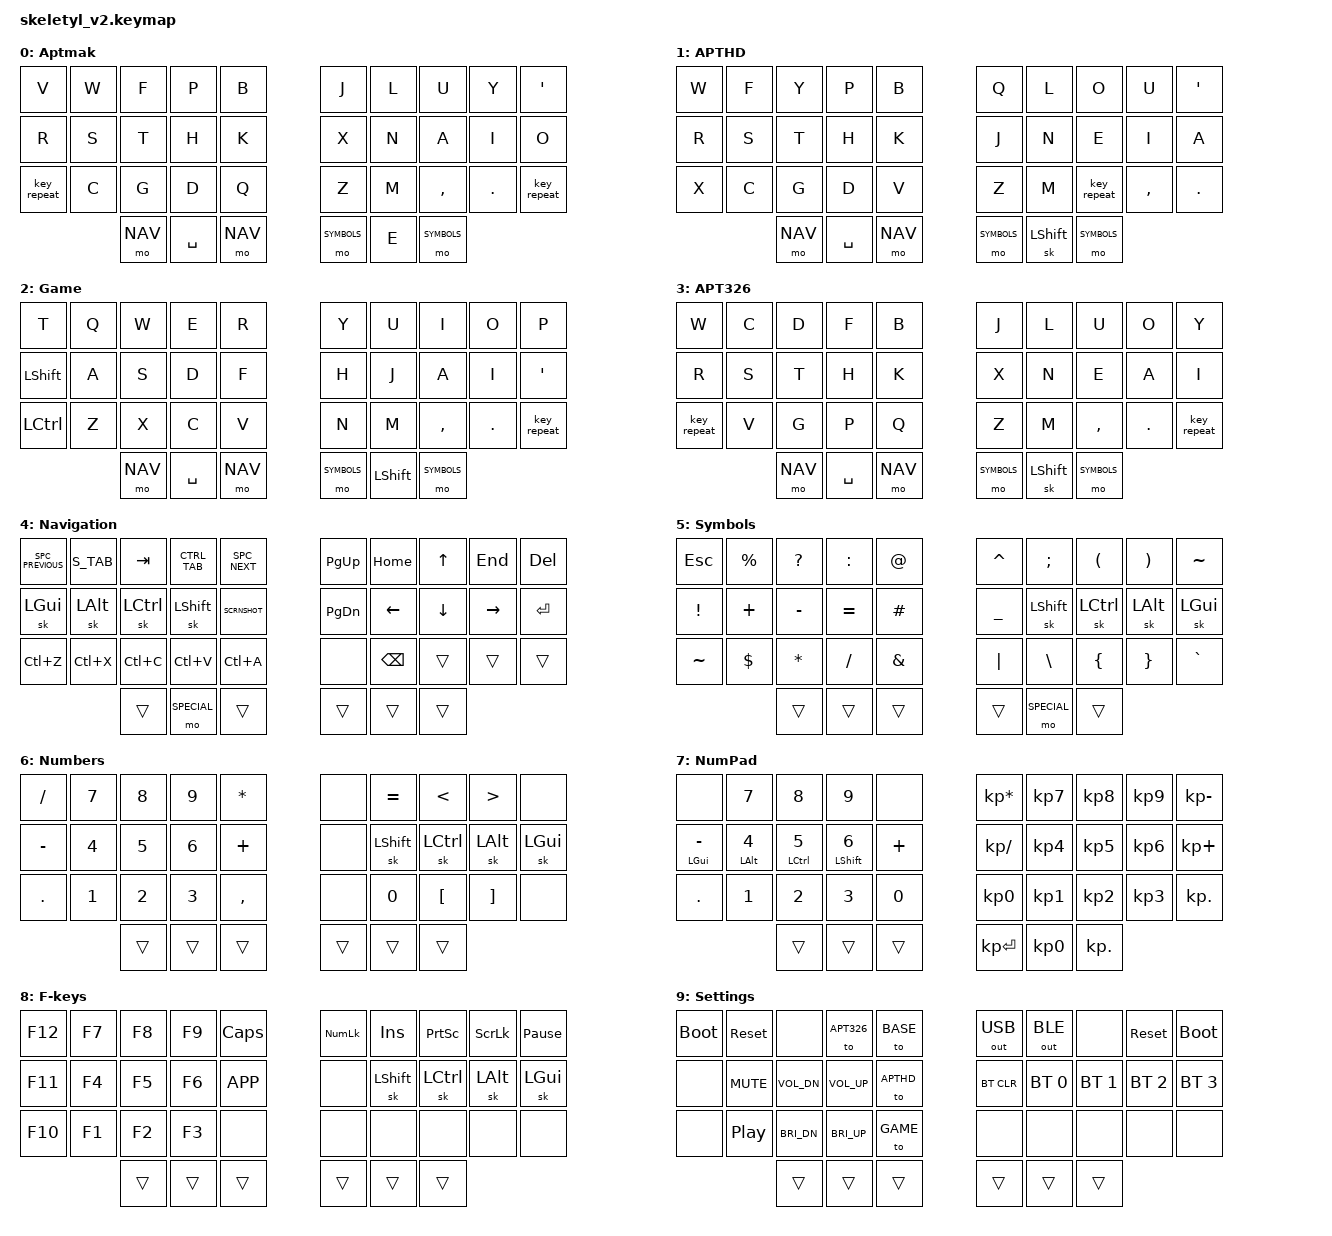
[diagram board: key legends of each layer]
/*
 * Copyright (c) 2020 The ZMK Contributors
 *
 * SPDX-License-Identifier: MIT
 */

#include <behaviors.dtsi>
#include <dt-bindings/zmk/keys.h>
#include <dt-bindings/zmk/bt.h>
#include <dt-bindings/zmk/ext_power.h>
#include <dt-bindings/zmk/outputs.h>

#define BASE    0
#define APTHD   1
#define GAME    2
#define APT326  3
#define NAV     4
#define SYMBOLS 5
#define NUMBERS 6
#define NUMPAD  7
#define FKEYS   8
#define SPECIAL 9

#define LAUNCHER (LG(TAB))
#define CTRL_TAB (LC(TAB))
#define C_S_TAB (LC(LS(TAB)))
#define SCRNSHOT (LG(LS(S)))

#define SPC_PREVIOUS (LC(LG(LEFT)))
#define S_PRV SPC_PREVIOUS

#define SPC_NEXT (LC(LG(RIGHT)))
#define S_NXT SPC_NEXT

&caps_word {
    continue-list = <UNDERSCORE MINUS BACKSPACE>;
};

&sk {
  quick-release;
};

/ {
    #include "36key_combos.dtsi"

    chosen {
      zmk,battery = &vbatt;
    };

    vbatt: vbatt {
      compatible = "zmk,battery-nrf-vddh";
      label = "VBATT";
    };

    conditional_layers {
      compatible = "zmk,conditional-layers";
      tri_layer {
          if-layers = <NAV SYMBOLS>;
          then-layer = <NUMBERS>;
      };
    };

    behaviors {
      td0: tap_dance_smart_shift {
          compatible = "zmk,behavior-tap-dance";
          label = "TAP_DANCE_SMART_SHIFT";
          #binding-cells = <0>;
          tapping-term-ms = <200>;
          bindings = <&sk LSHIFT>, <&caps_word>;
      };
    }; 

    keymap {
      compatible = "zmk,keymap";

      default_layer {
      label = "Aptmak";
      bindings = <
      &kp        V &kp        W &kp        F &kp        P &kp        B                   &kp        J &kp        L &kp        U &kp        Y &kp     APOS
      &kp        R &kp        S &kp        T &kp        H &kp        K                   &kp        X &kp        N &kp        A &kp        I &kp        O
      &key_repeat  &kp        C &kp        G &kp        D &kp        Q                   &kp        Z &kp        M &kp    COMMA &kp   PERIOD &key_repeat
                                             &mo      NAV &kp    SPACE &mo NAV &mo SYMBOLS &kp      E &mo  SYMBOLS
        >;
      };

      akl_layer {
      label = "APTHD";
      bindings = <
      &kp        W &kp        F &kp        Y &kp        P &kp        B                   &kp        Q &kp        L &kp        O &kp        U &kp     APOS
      &kp        R &kp        S &kp        T &kp        H &kp        K                   &kp        J &kp        N &kp        E &kp        I &kp        A
      &kp        X &kp        C &kp        G &kp        D &kp        V                   &kp        Z &kp        M &key_repeat  &kp    COMMA &kp   PERIOD
                                             &mo      NAV &kp    SPACE &mo NAV &mo SYMBOLS &sk  LSHFT &mo  SYMBOLS
        >;
      };

      game_layer {
      label = "Game";
      bindings = <
      &kp        T &kp        Q &kp        W &kp        E &kp        R                   &kp        Y &kp        U &kp        I &kp        O &kp        P
      &kp    LSHFT &kp        A &kp        S &kp        D &kp        F                   &kp        H &kp        J &kp        A &kp        I &kp     APOS
      &kp    LCTRL &kp        Z &kp        X &kp        C &kp        V                   &kp        N &kp        M &kp    COMMA &kp   PERIOD &key_repeat
                                             &mo      NAV &kp    SPACE &mo NAV &mo SYMBOLS &kp  LSHFT &mo  SYMBOLS
        >;
      };

      apt_layer {
      label = "APT326";
      bindings = <
      &kp        W &kp        C &kp        D &kp        F &kp        B                   &kp        J &kp        L &kp        U &kp        O &kp        Y
      &kp        R &kp        S &kp        T &kp        H &kp        K                   &kp        X &kp        N &kp        E &kp        A &kp        I
      &key_repeat  &kp        V &kp        G &kp        P &kp        Q                   &kp        Z &kp        M &kp    COMMA &kp   PERIOD &key_repeat
                                             &mo      NAV &kp    SPACE &mo NAV &mo SYMBOLS &sk  LSHFT &mo  SYMBOLS
        >;
      };

      nav_layer {
      label = "Navigation";
      bindings = <
      &kp    S_PRV &kp  C_S_TAB &kp      TAB &kp CTRL_TAB &kp    S_NXT                   &kp    PG_UP &kp     HOME &kp       UP &kp      END &kp      DEL
      &sk     LGUI &sk     LALT &sk    LCTRL &sk    LSHFT &kp SCRNSHOT                   &kp    PG_DN &kp     LEFT &kp     DOWN &kp    RIGHT &kp    ENTER
      &kp    LC(Z) &kp    LC(X) &kp    LC(C) &kp    LC(V) &kp    LC(A)                   &none        &kp     BSPC &trans       &trans       &trans
                                             &trans       &mo  SPECIAL &trans    &trans  &trans       &trans
        >;
      };

      symbols_layer {
      label = "Symbols";
      bindings = <
      &kp   ESCAPE &kp  PERCENT &kp    QMARK &kp    COLON &kp       AT                   &kp    CARET &kp     SEMI &kp     LPAR &kp     RPAR &kp    TILDE
      &kp     EXCL &kp     PLUS &kp    MINUS &kp    EQUAL &kp     HASH                   &kp    UNDER &sk   LSHIFT &sk    LCTRL &sk     LALT &sk     LGUI
      &kp    TILDE &kp   DOLLAR &kp ASTERISK &kp    SLASH &kp     AMPS                   &kp     PIPE &kp     BSLH &kp     LBRC &kp     RBRC &kp    GRAVE
                                             &trans       &trans       &trans    &trans  &mo  SPECIAL &trans
        >;
      };

      numbers_layer {
      label = "Numbers";
      bindings = <
      &kp    SLASH &kp       N7 &kp       N8 &kp       N9 &kp ASTERISK                   &none        &kp    EQUAL &kp       LT &kp GT       &none
      &kp    MINUS &kp       N4 &kp       N5 &kp       N6 &kp     PLUS                   &none        &sk   LSHIFT &sk    LCTRL &sk    LALT  &sk     LGUI
      &kp      DOT &kp       N1 &kp       N2 &kp       N3 &kp    COMMA                   &none        &kp       N0 &kp     LBKT &kp     RBKT &none
                                             &trans       &trans       &trans    &trans  &trans       &trans
        >;
      };

      numpad_layer {
      label = "NumPad";
      bindings = <
      &none        &kp       N7 &kp       N8 &kp       N9 &none                          &kp KP_ASTERISK &kp    KP_N7 &kp    KP_N8 &kp    KP_N9 &kp KP_MINUS
      &mt LGUI MINUS &mt  LALT N4 &mt  LCTL N5 &mt LSHFT N6 &kp   PLUS                   &kp    KP_SLASH &kp    KP_N4 &kp    KP_N5 &kp    KP_N6 &kp  KP_PLUS
      &kp      DOT &kp       N1 &kp       N2 &kp       N3 &kp       N0                   &kp       KP_N0 &kp    KP_N1 &kp    KP_N2 &kp    KP_N3 &kp   KP_DOT
                                             &trans       &trans       &trans    &kp KP_ENTER  &kp KP_N0 &kp   KP_DOT
        >;
      };

      fun_layer {
      label = "F-keys";
      bindings = <
      &kp      F12 &kp       F7 &kp       F8 &kp       F9 &kp     CAPS                   &kp KP_NUM   &kp      INS &kp    PSCRN &kp     SLCK &kp PAUSE_BREAK
      &kp      F11 &kp       F4 &kp       F5 &kp       F6 &kp    K_APP                   &none        &sk    LSHFT &sk     LCTL &sk     LALT &sk     LGUI
      &kp      F10 &kp       F1 &kp       F2 &kp       F3 &none                          &none        &none        &none        &none        &none
                                             &trans       &trans       &trans    &trans  &trans       &trans
        >;
      };

      special_layer {
      label = "Settings";
      bindings = <
      &bootloader  &sys_reset   &none        &to   APT326 &to     BASE                   &out OUT_USB &out OUT_BLE &none        &sys_reset   &bootloader
      &none        &kp   C_MUTE &kp C_VOL_DN &kp C_VOL_UP &to    APTHD                   &bt   BT_CLR &bt BT_SEL 0 &bt BT_SEL 1 &bt BT_SEL 2 &bt BT_SEL 3
      &none        &kp     C_PP &kp C_BRI_DN &kp C_BRI_UP &to     GAME                   &none        &none        &none        &none        &none
                                             &trans       &trans       &trans    &trans  &trans       &trans
        >;
      };

    };

};
